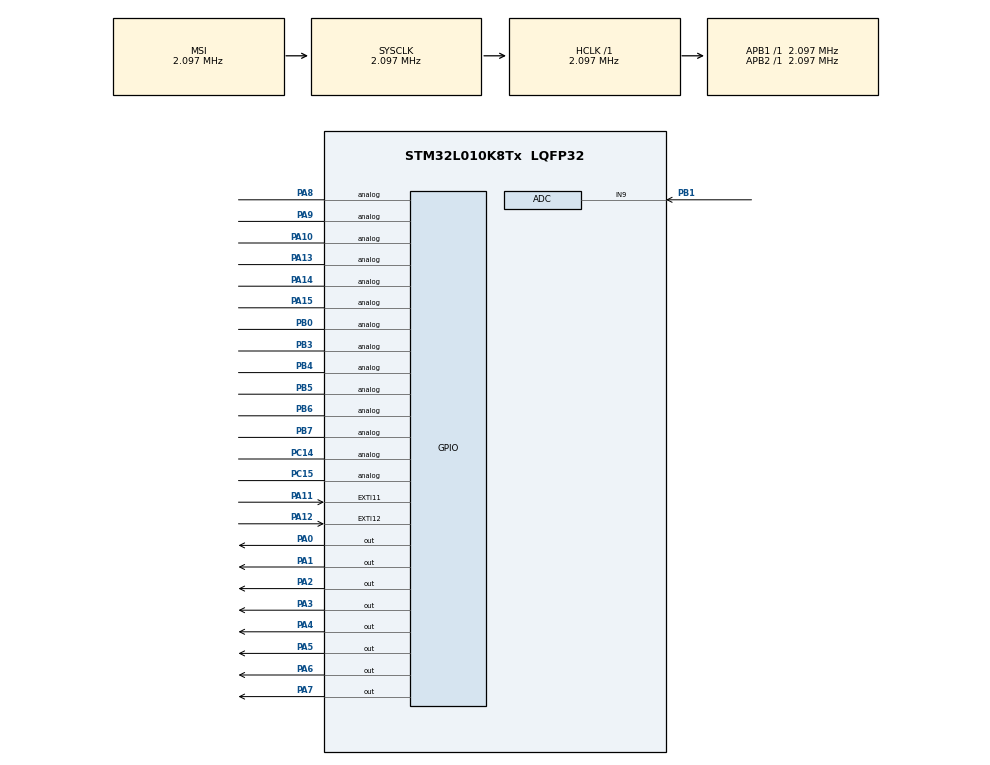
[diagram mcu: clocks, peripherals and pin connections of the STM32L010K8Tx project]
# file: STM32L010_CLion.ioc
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ADC.DiscontinuousConvMode=ENABLE
ADC.LowPowerAutoPowerOff=ENABLE
ADC.Overrun=ADC_OVR_DATA_OVERWRITTEN
ADC.Resolution=ADC_RESOLUTION_10B
Mcu.Family=STM32L0
Mcu.Name=STM32L010K8Tx
Mcu.Package=LQFP32
NVIC.EXTI4_15_IRQn=true\:0\:0\:false\:false\:true\:true\:true
PA0.GPIO_ModeDefaultOutputPP=GPIO_MODE_OUTPUT_OD
PA0.Signal=GPIO_Output
PA1.GPIO_ModeDefaultOutputPP=GPIO_MODE_OUTPUT_OD
PA1.Signal=GPIO_Output
PA10.Signal=GPIO_Analog
PA11.GPIO_ModeDefaultEXTI=GPIO_MODE_IT_FALLING
PA11.Signal=GPXTI11
PA12.GPIO_ModeDefaultEXTI=GPIO_MODE_IT_FALLING
PA12.GPIO_PuPd=GPIO_NOPULL
PA12.Signal=GPXTI12
PA13.Signal=GPIO_Analog
PA14.Signal=GPIO_Analog
PA15.Signal=GPIO_Analog
PA2.GPIO_ModeDefaultOutputPP=GPIO_MODE_OUTPUT_OD
PA2.Signal=GPIO_Output
PA3.GPIO_ModeDefaultOutputPP=GPIO_MODE_OUTPUT_OD
PA3.Signal=GPIO_Output
PA4.GPIO_ModeDefaultOutputPP=GPIO_MODE_OUTPUT_OD
PA4.Signal=GPIO_Output
PA5.GPIO_ModeDefaultOutputPP=GPIO_MODE_OUTPUT_OD
PA5.Signal=GPIO_Output
PA6.GPIO_ModeDefaultOutputPP=GPIO_MODE_OUTPUT_OD
PA6.Signal=GPIO_Output
PA7.GPIO_ModeDefaultOutputPP=GPIO_MODE_OUTPUT_OD
PA7.Signal=GPIO_Output
PA8.Signal=GPIO_Analog
PA9.Signal=GPIO_Analog
PB0.Signal=GPIO_Analog
PB1.Mode=IN9
PB1.Signal=ADC_IN9
PB3.Signal=GPIO_Analog
PB4.Signal=GPIO_Analog
PB5.Signal=GPIO_Analog
PB6.Signal=GPIO_Analog
PB7.Signal=GPIO_Analog
PC14-OSC32_IN.Signal=GPIO_Analog
PC15-OSC32_OUT.Signal=GPIO_Analog
ProjectManager.HeapSize=0x200
ProjectManager.StackSize=0x300
ProjectManager.TargetToolchain=SW4STM32
RCC.AHBFreq_Value=2097000
RCC.APB1Freq_Value=2097000
RCC.APB1TimFreq_Value=2097000
RCC.APB2Freq_Value=2097000
RCC.APB2TimFreq_Value=2097000
RCC.HSI16_VALUE=16000000
RCC.HSI_VALUE=16000000
RCC.LSE_VALUE=32768
RCC.MSI_VALUE=2097000
RCC.SYSCLKFreq_VALUE=2097000
RCC.VCOOutputFreq_Value=48000000
board=custom

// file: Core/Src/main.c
/* USER CODE BEGIN Header */
/* USER CODE END Header */
#include "main.h"

/* USER CODE BEGIN PD */
#define _STATE_STILL 1
#define _STATE_FIRSTROUND 2
#define _STATE_RUNNING 3
//Parameters
//#define _SPACE_LINE_INTERVAL 10
//#define _SPACE_CHAR_INTERVAL 100
#define _SPACE_LINE_SCALE 10
#define _SPACE_CHAR_SCALE 10
#define _ADC_TIMEOUT 50
//Debug |TODO: Comment out this def on production
// #define _DEBUG_MODE //----------------------------------------- DEBUG ------|
/* USER CODE END PD */

/* USER CODE BEGIN PM */
#define SET_LED(data) GPIOA->BSRR = (data & 0xff)|((~data & 0xff)<<16)
#define SHOW_MODE SET_LED(~(0b1 << mode))
uint8_t intt = 0;
void debug() {
    SET_LED(0);
    uint8_t i11 = 0;
    uint8_t i12 = 0;
    while(1) {
        i11 = HAL_GPIO_ReadPin(GPIOA, GPIO_PIN_11);
        i12 = HAL_GPIO_ReadPin(GPIOA, GPIO_PIN_12);
        SET_LED(0b11111111 - (i11 << 1) - (i12 << 6) - (intt));
        HAL_Delay(100);
    }
}
/* USER CODE END PM */

ADC_HandleTypeDef hadc;

/* USER CODE BEGIN PV */
static const uint8_t CHARS[53][5] = {
    {0b10000001,0b01101110,0b01110110,0b01111010,0b10000001},//0
    {0b01111111,0b01111101,0b00000000,0b01111111,0b01111111},//1
    {0b00111101,0b01011110,0b01101110,0b01110110,0b01111001},//2
    {0b10111101,0b01111110,0b01110110,0b01110110,0b10001001},//3
    {0b11001111,0b11010011,0b11011101,0b00000000,0b11011111},//4
    {0b10110000,0b01110110,0b01110110,0b01110110,0b10001110},//5
    {0b10000001,0b01110110,0b01110110,0b01110110,0b10001101},//6
    {0b11111100,0b11111110,0b00001110,0b11110010,0b11111100},//7
    {0b10001001,0b01110110,0b01110110,0b01110110,0b10001001},//8
    {0b10111001,0b01110110,0b01110110,0b01110110,0b10000001},//9
    {0b00000001,0b11110110,0b11110110,0b11110110,0b00000001},//10-A
    {0b00000000,0b01110110,0b01110110,0b01110110,0b10001001},//11-B
    {0b10000001,0b01111110,0b01111110,0b01111110,0b10111101},//12-C
    {0b00000000,0b01111110,0b01111110,0b10111101,0b11000011},//13-D
    {0b00000000,0b01110110,0b01110110,0b01110110,0b01111110},//14-E
    {0b00000000,0b11110110,0b11110110,0b11110110,0b11111110},//15-F
    {0b10000001,0b01111110,0b01110110,0b01110110,0b10000101},//16-G
    {0b00000000,0b11110111,0b11110111,0b11110111,0b00000000},//17-H
    {0b11111111,0b01111110,0b00000000,0b01111110,0b11111111},//18-I
    {0b11111110,0b01111110,0b01111110,0b10000000,0b11111110},//19-J
    {0b00000000,0b11110111,0b11101011,0b11011101,0b00111110},//20-K
    {0b00000000,0b01111111,0b01111111,0b01111111,0b01111111},//21-L
    {0b00000000,0b11111110,0b11000000,0b11111110,0b00000001},//22-M
    {0b00000000,0b11111110,0b10000001,0b01111111,0b00000000},//23-N
    {0b10000001,0b01111110,0b01111110,0b01111110,0b10000001},//24-O
    {0b00000000,0b11110110,0b11110110,0b11110110,0b11111001},//25-P
    {0b10000001,0b01111110,0b01011110,0b10111110,0b01000001},//26-Q
    {0b00000000,0b11110110,0b11100110,0b11010110,0b00111001},//27-R
    {0b10111001,0b01110110,0b01110110,0b01110110,0b10001101},//28-S
    {0b11111110,0b11111110,0b00000000,0b11111110,0b11111110},//29-T
    {0b10000000,0b01111111,0b01111111,0b01111111,0b10000000},//30-U
    {0b11100000,0b10011111,0b01111111,0b10011111,0b11100000},//31-V
    {0b10000000,0b01111111,0b10000111,0b01111111,0b10000000},//32-W
    {0b00011100,0b11101011,0b11110111,0b11101011,0b00011100},//33-X
    {0b11111100,0b11110011,0b00001111,0b11110011,0b11111100},//34-Y
    {0b00111110,0b01010110,0b01100110,0b01101010,0b01111100},//35-Z
    {0b11101111,0b11010111,0b10111011,0b01111101,0b11111111},//36 <
    {0b11111111,0b01111101,0b10111011,0b11010111,0b11101111},//37 >
    {0b11111111,0b11111111,0b01000000,0b11111111,0b11111111},//38 !
    {0b11111101,0b11111110,0b01001110,0b11110110,0b11111001},//39 ?
    {0b11111101,0b11111110,0b01001110,0b11110110,0b11111001},//40 ? |TODO
    {0b11110111,0b11110111,0b11110111,0b11110111,0b11110111},//41 -
    {0b01111111,0b01111111,0b01111111,0b01111111,0b01111111},//42 _
    {0b11110111,0b11110111,0b11000001,0b11110111,0b11110111},//43 +
    {0b11011011,0b11011011,0b11011011,0b11011011,0b11011011},//44 =
    {0b11111111,0b11111111,0b11011011,0b11111111,0b11111111},//45 :
    {0b10001111,0b01110001,0b01001110,0b10111110,0b01001101},//46 &
    {0b11011011,0b00000000,0b11011011,0b00000000,0b11011011},//47 #
    {0b10000001,0b01100110,0b01011010,0b01000110,0b11100001},//48 @
    {0b11000111,0b10000011,0b10000011,0b10000011,0b11000111},//49 cdot
    {0b10111011,0b11011111,0b11101111,0b11110111,0b10111011},//50 %
    {0b11011011,0b10110101,0b00000000,0b10101101,0b11011011},//51 $
    {0b11111111,0b11111111,0b11111111,0b11111111,0b11111111},//52 _spacer_
};

//Runtime - State
uint8_t mode = 0;
uint8_t state = _STATE_STILL;
uint8_t shouldHandleEXTI = 1;
uint8_t rnd;
//Runtime - SysTick
uint32_t prevTick = 0;
uint32_t loopTime = 0;
uint32_t spinStartTime = 0;
//Runtime - User
uint16_t speedRpm = 0;
uint16_t maxSpeedRpm = 0;
uint16_t loopCount = 0;
uint16_t maxLoopCount = 0;
uint8_t eepDataOffset = 0;
//Runtime - User - 2
uint8_t animationIndex = 0;
#define ANI_INDEX_MAX 5
/* USER CODE END PV */

void SystemClock_Config(void);
static void MX_GPIO_Init(void);
static void MX_ADC_Init(void);

/* USER CODE BEGIN 0 */
uint32_t loadEEPData() {
    const uint32_t saved = *(__IO uint32_t*)(DATA_EEPROM_BASE + 4 + eepDataOffset * 4);
    return saved;
}
//[31:16] max speed
//[15:00] max loops
void saveEEPData(uint32_t new) {
    shouldHandleEXTI = 0;
    HAL_DATA_EEPROMEx_Unlock();
    HAL_DATA_EEPROMEx_Program(
        FLASH_TYPEPROGRAMDATA_WORD,
        DATA_EEPROM_BASE + 4 + eepDataOffset * 4,
        new);
    shouldHandleEXTI = 1;
}

uint8_t readBatteryADC() {
    shouldHandleEXTI = 0;
    uint16_t adcResult = 0; //10-bit 1024
    HAL_ADC_Start(&hadc);
    HAL_ADC_PollForConversion(&hadc, _ADC_TIMEOUT);
    if(HAL_IS_BIT_SET(HAL_ADC_GetState(&hadc), HAL_ADC_STATE_REG_EOC))
        adcResult = HAL_ADC_GetValue(&hadc);
    else return 0;
    //adcResult * 3 / 1024 * 180 - 440
    double percentage = ((double)adcResult * 0.52734 - 440.0);
    if(percentage < 10) percentage = 1;
    shouldHandleEXTI = 1;
    return (uint8_t)percentage;
}

void showChar(const uint8_t id) {
    //for(unsigned character=0; character<sizeof(*str); ++character) {
    volatile uint32_t intervalScale = loopTime;
    //intervalScale /= 512;
    //uint32_t lineInterval = (intervalScale * (double)_SPACE_LINE_INTERVAL);
    uint32_t lineInterval = (intervalScale / _SPACE_LINE_SCALE);
    SET_LED(CHARS[id][0]);
    HAL_Delay(lineInterval);
    SET_LED(CHARS[id][1]);
    HAL_Delay(lineInterval);
    SET_LED(CHARS[id][2]);
    HAL_Delay(lineInterval);
    SET_LED(CHARS[id][3]);
    HAL_Delay(lineInterval);
    SET_LED(CHARS[id][4]);
    HAL_Delay(lineInterval);
    SET_LED(0b11111111);
    //HAL_Delay((intervalScale * (double)_SPACE_CHAR_INTERVAL)); //Char spacing width
    //HAL_Delay((intervalScale / _SPACE_CHAR_SCALE));
    HAL_Delay(lineInterval);
    HAL_Delay(lineInterval);
    HAL_Delay(lineInterval);
    HAL_Delay(lineInterval);
}
//example: str = [0,6,4,52,27,25,22] -> "064 RPM"

static inline void displayInMode(uint8_t _mode) {
    if(!shouldHandleEXTI) return;
    shouldHandleEXTI = 0;
    switch(_mode) {
        case 0: //0 - Loops counter
            showChar(49);
            showChar(52);
            if(loopCount >= 10000)
                showChar((uint8_t)(loopCount / 10000));
            if(loopCount >= 1000)
                showChar((uint8_t)((loopCount % 10000) / 1000));
            if(loopCount >= 100)
                showChar((uint8_t)((loopCount % 1000) / 100));
            if(loopCount >= 10)
                showChar((uint8_t)(loopCount / 10));
            showChar(loopCount % 10);
            break;
        case 1: //1 - Timer +mm:ss
            showChar(43); //+
            const uint32_t _spinTime = (prevTick - spinStartTime) / 1000;
            const uint8_t _sec = (uint8_t)(_spinTime % 60);
            const uint8_t _min = (uint8_t)(_spinTime / 60);
            showChar(_min / 10);
            showChar(_min % 10);
            showChar(45); //:
            showChar(_sec / 10);
            showChar(_sec % 10);
            break;
        case 2: //2 - RPM meter
            if(speedRpm >= 10000) {
                showChar(29); //T
                showChar(24); //O
                showChar(24); //O
                showChar(52); //_spacer_
                showChar(15); //F
                showChar(10); //A
                showChar(28); //S
                showChar(29); //T
            } else {
                if (speedRpm >= 1000)
                    showChar((uint8_t) (speedRpm / 1000));
                if (speedRpm >= 100)
                    showChar((uint8_t) ((speedRpm % 1000) / 100));
                if (speedRpm >= 10)
                    showChar((uint8_t) (speedRpm / 10));
                showChar(speedRpm % 10);
                showChar(52); //_spacer_
                showChar(27); //R
                showChar(25); //P
                showChar(22); //M
            }
            break;
        case 3: //3 - Battery
            __NOP();
            const uint8_t bat = readBatteryADC();
            if(bat > 99) { //100%
                showChar(1);
                showChar(0);
                showChar(0);
                showChar(50);
            } else if(bat > 9) { //2-Digit
                showChar(bat / 10);
                showChar(bat % 10);
                showChar(50);
            } else if(bat) { //LOW!
                showChar(21);
                showChar(24);
                showChar(32);
                showChar(38);
            } else { //ERROR
                showChar(14);
                showChar(27);
                showChar(27);
                showChar(24);
                showChar(27);
            }
            break;
        case 4: //4 - Random gen - yes / no / maybe
            if(prevTick - spinStartTime < 1280) {
                showChar(34); //Y
                showChar(14); //E
                showChar(28); //S
                showChar(52); //_SPACER_
                showChar(24); //O
                showChar(27); //R
                showChar(52); //_SPACER_
                showChar(23); //N
                showChar(24); //O
                showChar(52); //_SPACER_
                showChar(39); //?
            } else {
                if (rnd < 7) {
                    showChar(49); //_cdot_
                    showChar(34); //Y
                    showChar(14); //E
                    showChar(28); //S
                } else if (rnd < 14) {
                    showChar(49); //_cdot_
                    showChar(23); //N
                    showChar(24); //O
                } else {
                    showChar(49); //_cdot_
                    showChar(22); //M
                    showChar(10); //A
                    showChar(34); //Y
                    showChar(11); //B
                    showChar(14); //E
                }
            }
            break;
        case 5: //5 - Animation |TODO
            //
            break;
        case 7: //7 - User defined text |TODO
            showChar(0);
            showChar(1);
            showChar(2);
            showChar(3);
            showChar(4);
            showChar(5);
            showChar(6);
            showChar(7);
            break;
        case 6: //6 - Best score - max loops max time max speed
            showChar(11); //B
            showChar(14); //E
            showChar(28); //S
            showChar(29); //T
            showChar(45); //:
            if(((prevTick - spinStartTime) << 11) % 2) {
                if(maxLoopCount >= 10000)
                    showChar((uint8_t)(maxLoopCount / 10000));
                if(maxLoopCount >= 1000)
                    showChar((uint8_t)((maxLoopCount % 10000) / 1000));
                if(maxLoopCount >= 100)
                    showChar((uint8_t)((maxLoopCount % 1000) / 100));
                if(maxLoopCount >= 10)
                    showChar((uint8_t)(maxLoopCount / 10));
                showChar(maxLoopCount % 10);
                showChar(49); //_cdot_
            } else {
                if(maxSpeedRpm >= 1000)
                    showChar((uint8_t)((maxSpeedRpm % 10000) / 1000));
                if(maxSpeedRpm >= 100)
                    showChar((uint8_t)((maxSpeedRpm % 1000) / 100));
                if(maxSpeedRpm >= 10)
                    showChar((uint8_t)(maxSpeedRpm / 10));
                showChar(maxSpeedRpm % 10);
                showChar(52); //_spacer_
                showChar(27); //R
                showChar(25); //P
                showChar(22); //M
            }
            break;
        default: break;
    }
    shouldHandleEXTI = 1;
}

void HAL_GPIO_EXTI_Callback(uint16_t GPIO_Pin) {
#ifdef _DEBUG_MODE
    if(GPIO_Pin == GPIO_PIN_12) {
        intt = ~intt;
    }
    return;
#endif
    if(!shouldHandleEXTI) return;
    if(GPIO_Pin == GPIO_PIN_11) { //Button
        if(state == _STATE_STILL) {
            ++mode;
            if(mode > 7) mode = 0;
            SHOW_MODE;
        }
    } else if(GPIO_Pin == GPIO_PIN_12) { //Sensor
        const uint32_t tick = HAL_GetTick();
        switch(state) {
            case _STATE_STILL:
                SET_LED(0xff);
                state = _STATE_FIRSTROUND;
                prevTick = tick;
                break;
            case _STATE_FIRSTROUND:
                state = _STATE_RUNNING;
                loopTime = tick - prevTick;
                prevTick = tick;
                spinStartTime = tick;
                loopCount = 1;
                rnd = prevTick % 16;
                break;
            case _STATE_RUNNING:
                prevTick = tick;
                //loopTime in ms
                //loopTime = (loopTime >> 2) + ((tick - prevTick) >> 2) * 3;
                loopTime = tick - prevTick;
                ++loopCount;
                speedRpm = 60000 / loopTime;
                displayInMode(mode);
                break;
            default:
                break;
        }
    }
}

//void SysTick_Handler() {
    //
//}
/* USER CODE END 0 */

int main(void)
{

  /* MCU Configuration--------------------------------------------------------*/

  /* Reset of all peripherals, Initializes the Flash interface and the Systick. */
  HAL_Init();

  /* Configure the system clock */
  SystemClock_Config();

  /* USER CODE BEGIN SysInit */
#ifndef _DEBUG_MODE
    uint8_t savedOffset = *(__IO uint8_t*)(DATA_EEPROM_BASE);
    eepDataOffset = savedOffset;
    uint32_t savedData = 0;
    savedData = loadEEPData();
    maxSpeedRpm = savedData >> 16;
    maxLoopCount = savedData % (1 << 16);
#endif
  /* USER CODE END SysInit */

  /* Initialize all configured peripherals */
  MX_GPIO_Init();
  MX_ADC_Init();
  /* USER CODE BEGIN 2 */
#ifdef _DEBUG_MODE
    debug();
#else
    SHOW_MODE;
#endif
  /* USER CODE END 2 */

  /* Infinite loop */
  /* USER CODE BEGIN WHILE */

  while(1) {
      if(state != _STATE_STILL) {
          //Timeout watchdog
          if(HAL_GetTick() - prevTick > 1024) {
              state = _STATE_STILL;
              SHOW_MODE;
              if(speedRpm > maxSpeedRpm || loopCount > maxLoopCount) {
                  maxSpeedRpm = speedRpm;
                  maxLoopCount = loopCount;
                  saveEEPData((((uint32_t)maxSpeedRpm) << 16) + maxLoopCount);
              }
              ++animationIndex;
              if(animationIndex >= ANI_INDEX_MAX) animationIndex = 0;
          }
      }
    /* USER CODE END WHILE */

  }
}

void SystemClock_Config(void)
{
  RCC_OscInitTypeDef RCC_OscInitStruct = {0};
  RCC_ClkInitTypeDef RCC_ClkInitStruct = {0};

  /** Configure the main internal regulator output voltage
  */
  __HAL_PWR_VOLTAGESCALING_CONFIG(PWR_REGULATOR_VOLTAGE_SCALE1);
  /** Initializes the RCC Oscillators according to the specified parameters
  * in the RCC_OscInitTypeDef structure.
  */
  RCC_OscInitStruct.OscillatorType = RCC_OSCILLATORTYPE_MSI;
  RCC_OscInitStruct.MSIState = RCC_MSI_ON;
  RCC_OscInitStruct.MSICalibrationValue = 0;
  RCC_OscInitStruct.MSIClockRange = RCC_MSIRANGE_5;
  RCC_OscInitStruct.PLL.PLLState = RCC_PLL_NONE;
  if (HAL_RCC_OscConfig(&RCC_OscInitStruct) != HAL_OK)
  {
    Error_Handler();
  }
  /** Initializes the CPU, AHB and APB buses clocks
  */
  RCC_ClkInitStruct.ClockType = RCC_CLOCKTYPE_HCLK|RCC_CLOCKTYPE_SYSCLK
                              |RCC_CLOCKTYPE_PCLK1|RCC_CLOCKTYPE_PCLK2;
  RCC_ClkInitStruct.SYSCLKSource = RCC_SYSCLKSOURCE_MSI;
  RCC_ClkInitStruct.AHBCLKDivider = RCC_SYSCLK_DIV1;
  RCC_ClkInitStruct.APB1CLKDivider = RCC_HCLK_DIV1;
  RCC_ClkInitStruct.APB2CLKDivider = RCC_HCLK_DIV1;

  if (HAL_RCC_ClockConfig(&RCC_ClkInitStruct, FLASH_LATENCY_0) != HAL_OK)
  {
    Error_Handler();
  }
}

static void MX_ADC_Init(void)
{

  ADC_ChannelConfTypeDef sConfig = {0};

  /** Configure the global features of the ADC (Clock, Resolution, Data Alignment and number of conversion)
  */
  hadc.Instance = ADC1;
  hadc.Init.OversamplingMode = DISABLE;
  hadc.Init.ClockPrescaler = ADC_CLOCK_SYNC_PCLK_DIV1;
  hadc.Init.Resolution = ADC_RESOLUTION_10B;
  hadc.Init.SamplingTime = ADC_SAMPLETIME_1CYCLE_5;
  hadc.Init.ScanConvMode = ADC_SCAN_DIRECTION_FORWARD;
  hadc.Init.DataAlign = ADC_DATAALIGN_RIGHT;
  hadc.Init.ContinuousConvMode = DISABLE;
  hadc.Init.DiscontinuousConvMode = ENABLE;
  hadc.Init.ExternalTrigConvEdge = ADC_EXTERNALTRIGCONVEDGE_NONE;
  hadc.Init.ExternalTrigConv = ADC_SOFTWARE_START;
  hadc.Init.DMAContinuousRequests = DISABLE;
  hadc.Init.EOCSelection = ADC_EOC_SINGLE_CONV;
  hadc.Init.Overrun = ADC_OVR_DATA_OVERWRITTEN;
  hadc.Init.LowPowerAutoWait = DISABLE;
  hadc.Init.LowPowerFrequencyMode = ENABLE;
  hadc.Init.LowPowerAutoPowerOff = ENABLE;
  if (HAL_ADC_Init(&hadc) != HAL_OK)
  {
    Error_Handler();
  }
  /** Configure for the selected ADC regular channel to be converted.
  */
  sConfig.Channel = ADC_CHANNEL_9;
  sConfig.Rank = ADC_RANK_CHANNEL_NUMBER;
  if (HAL_ADC_ConfigChannel(&hadc, &sConfig) != HAL_OK)
  {
    Error_Handler();
  }

}

static void MX_GPIO_Init(void)
{
  GPIO_InitTypeDef GPIO_InitStruct = {0};

  /* GPIO Ports Clock Enable */
  __HAL_RCC_GPIOC_CLK_ENABLE();
  __HAL_RCC_GPIOA_CLK_ENABLE();
  __HAL_RCC_GPIOB_CLK_ENABLE();

  /*Configure GPIO pin Output Level */
  HAL_GPIO_WritePin(GPIOA, GPIO_PIN_0|GPIO_PIN_1|GPIO_PIN_2|GPIO_PIN_3
                          |GPIO_PIN_4|GPIO_PIN_5|GPIO_PIN_6|GPIO_PIN_7, GPIO_PIN_RESET);

  /*Configure GPIO pins : PC14 PC15 */
  GPIO_InitStruct.Pin = GPIO_PIN_14|GPIO_PIN_15;
  GPIO_InitStruct.Mode = GPIO_MODE_ANALOG;
  GPIO_InitStruct.Pull = GPIO_NOPULL;
  HAL_GPIO_Init(GPIOC, &GPIO_InitStruct);

  /*Configure GPIO pins : PA0 PA1 PA2 PA3
                           PA4 PA5 PA6 PA7 */
  GPIO_InitStruct.Pin = GPIO_PIN_0|GPIO_PIN_1|GPIO_PIN_2|GPIO_PIN_3
                          |GPIO_PIN_4|GPIO_PIN_5|GPIO_PIN_6|GPIO_PIN_7;
  GPIO_InitStruct.Mode = GPIO_MODE_OUTPUT_OD;
  GPIO_InitStruct.Pull = GPIO_NOPULL;
  GPIO_InitStruct.Speed = GPIO_SPEED_FREQ_LOW;
  HAL_GPIO_Init(GPIOA, &GPIO_InitStruct);

  /*Configure GPIO pins : PB0 PB3 PB4 PB5
                           PB6 PB7 */
  GPIO_InitStruct.Pin = GPIO_PIN_0|GPIO_PIN_3|GPIO_PIN_4|GPIO_PIN_5
                          |GPIO_PIN_6|GPIO_PIN_7;
  GPIO_InitStruct.Mode = GPIO_MODE_ANALOG;
  GPIO_InitStruct.Pull = GPIO_NOPULL;
  HAL_GPIO_Init(GPIOB, &GPIO_InitStruct);

  /*Configure GPIO pins : PA8 PA9 PA10 PA13
                           PA14 PA15 */
  GPIO_InitStruct.Pin = GPIO_PIN_8|GPIO_PIN_9|GPIO_PIN_10|GPIO_PIN_13
                          |GPIO_PIN_14|GPIO_PIN_15;
  GPIO_InitStruct.Mode = GPIO_MODE_ANALOG;
  GPIO_InitStruct.Pull = GPIO_NOPULL;
  HAL_GPIO_Init(GPIOA, &GPIO_InitStruct);

  /*Configure GPIO pin : PA11 */
  GPIO_InitStruct.Pin = GPIO_PIN_11;
  GPIO_InitStruct.Mode = GPIO_MODE_IT_FALLING;
  GPIO_InitStruct.Pull = GPIO_NOPULL;
  HAL_GPIO_Init(GPIOA, &GPIO_InitStruct);

  /*Configure GPIO pin : PA12 */
  GPIO_InitStruct.Pin = GPIO_PIN_12;
  GPIO_InitStruct.Mode = GPIO_MODE_IT_FALLING;
  GPIO_InitStruct.Pull = GPIO_NOPULL; //Prev: PULLUP
  HAL_GPIO_Init(GPIOA, &GPIO_InitStruct);

  /* EXTI interrupt init*/
  HAL_NVIC_SetPriority(SysTick_IRQn, 0, 0);
  HAL_NVIC_SetPriority(EXTI4_15_IRQn, 1, 0);
  HAL_NVIC_EnableIRQ(EXTI4_15_IRQn);

}

void Error_Handler(void)
{
  /* USER CODE BEGIN Error_Handler_Debug */
    SET_LED(0b11110100);
  /* User can add his own implementation to report the HAL error return state */
  __disable_irq();
  while (1)
  {
  }
  /* USER CODE END Error_Handler_Debug */
}

/************************ (C) COPYRIGHT STMicroelectronics *****END OF FILE****/
